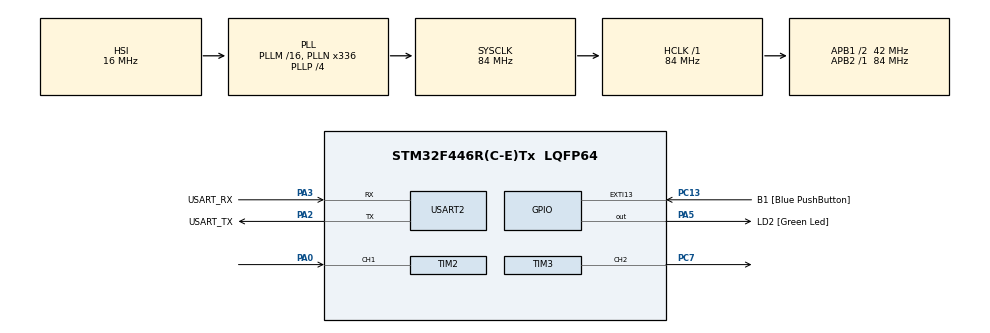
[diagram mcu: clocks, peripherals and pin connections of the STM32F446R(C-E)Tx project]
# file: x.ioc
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Mcu.Family=STM32F4
Mcu.Name=STM32F446R(C-E)Tx
Mcu.Package=LQFP64
NVIC.PriorityGroup=NVIC_PRIORITYGROUP_0
NVIC.TIM2_IRQn=true\:0\:0\:false\:false\:true\:true\:true\:true
NVIC.USART2_IRQn=true\:0\:0\:false\:false\:true\:true\:true\:true
PA0-WKUP.Signal=S_TIM2_CH1_ETR
PA13.GPIO_Label=TMS
PA13.Mode=Serial_Wire
PA13.Signal=SYS_JTMS-SWDIO
PA14.GPIO_Label=TCK
PA14.Mode=Serial_Wire
PA14.Signal=SYS_JTCK-SWCLK
PA2.GPIO_Label=USART_TX
PA2.Mode=Asynchronous
PA2.Signal=USART2_TX
PA3.GPIO_Label=USART_RX
PA3.Mode=Asynchronous
PA3.Signal=USART2_RX
PA5.GPIO_Label=LD2 [Green Led]
PA5.Signal=GPIO_Output
PB3.GPIO_Label=SWO
PB3.Signal=SYS_JTDO-SWO
PC13.GPIO_Label=B1 [Blue PushButton]
PC13.GPIO_ModeDefaultEXTI=GPIO_MODE_IT_FALLING
PC13.Signal=GPXTI13
PC14-OSC32_IN.Mode=LSE-External-Oscillator
PC14-OSC32_IN.Signal=RCC_OSC32_IN
PC15-OSC32_OUT.Mode=LSE-External-Oscillator
PC15-OSC32_OUT.Signal=RCC_OSC32_OUT
PC7.Signal=S_TIM3_CH2
PH0-OSC_IN.Mode=HSE-External-Oscillator
PH0-OSC_IN.Signal=RCC_OSC_IN
PH1-OSC_OUT.Mode=HSE-External-Oscillator
PH1-OSC_OUT.Signal=RCC_OSC_OUT
ProjectManager.HeapSize=0x200
ProjectManager.StackSize=0x400
ProjectManager.TargetToolchain=STM32CubeIDE
RCC.48MHZClocksFreq_Value=84000000
RCC.AHBFreq_Value=84000000
RCC.APB1CLKDivider=RCC_HCLK_DIV2
RCC.APB1Freq_Value=42000000
RCC.APB1TimFreq_Value=84000000
RCC.APB2Freq_Value=84000000
RCC.APB2TimFreq_Value=84000000
RCC.CortexFreq_Value=84000000
RCC.FLatency-AdvancedSettings=FLASH_LATENCY_2
RCC.HCLKFreq_Value=84000000
RCC.HSE_VALUE=8000000
RCC.HSI_VALUE=16000000
RCC.PLLN=336
RCC.PLLP=RCC_PLLP_DIV4
RCC.SYSCLKFreq_VALUE=84000000
RCC.SYSCLKSource=RCC_SYSCLKSOURCE_PLLCLK
RCC.USBFreq_Value=168000000
RCC.VCOOutputFreq_Value=336000000
SH.S_TIM2_CH1_ETR.0=TIM2_CH1,TriggerSource_TI1FP1
SH.S_TIM2_CH1_ETR.1=TIM2_CH1,Input_Capture1_from_TI1
SH.S_TIM3_CH2.0=TIM3_CH2,PWM Generation2 CH2
TIM2.AutoReloadPreload=TIM_AUTORELOAD_PRELOAD_ENABLE
TIM2.Channel-Input_Capture1_from_TI1=TIM_CHANNEL_1
TIM2.Channel-Input_Capture2_from_TI1_63=TIM_CHANNEL_2
TIM2.ICPolarity_CH2=TIM_INPUTCHANNELPOLARITY_FALLING
TIM3.AutoReloadPreload=TIM_AUTORELOAD_PRELOAD_ENABLE
TIM3.Channel-PWM\ Generation2\ CH2=TIM_CHANNEL_2
USART2.VirtualMode=VM_ASYNC
VP_TIM2_VS_ControllerModeReset.Mode=Reset Mode
VP_TIM2_VS_indirect_ch1.Mode=Input_Capture2_from_TI1_63
board=NUCLEO-F446RE

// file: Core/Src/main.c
/* USER CODE BEGIN Header */
/**
  ******************************************************************************
  * @file           : main.c
  * @brief          : Main program body
  ******************************************************************************
  * @attention
  *
  * Copyright (c) 2026 STMicroelectronics.
  * All rights reserved.
  *
  * This software is licensed under terms that can be found in the LICENSE file
  * in the root directory of this software component.
  * If no LICENSE file comes with this software, it is provided AS-IS.
  *
  ******************************************************************************
  */
/* USER CODE END Header */
#include "main.h"
#include "tim.h"
#include "usart.h"
#include "gpio.h"

/* USER CODE BEGIN Includes */
#include <string.h>
#include <stdlib.h>
#include <stdio.h>

/* USER CODE END Includes */

/* USER CODE BEGIN PV */
static volatile uint32_t ic_period = 0;
static volatile uint32_t ic_high   = 0;
static volatile uint8_t  ic_ready  = 0;

static uint8_t rx_ch;                 // 1 znak z UART
static char rx_line[128];             // linia komendy
static uint16_t rx_idx = 0;

/* USER CODE END PV */

void SystemClock_Config(void);

/* USER CODE BEGIN 0 */
static void uart_print(const char *s)
{
  HAL_UART_Transmit(&huart2, (uint8_t*)s, (uint16_t)strlen(s), 100);
}

// TIM2 i TIM3 są na APB1. Przy APB1 prescaler != 1 zegar timera = 2*PCLK1.
static uint32_t tim_apb1_clk_hz(void)
{
  uint32_t pclk = HAL_RCC_GetPCLK1Freq();
  if ((RCC->CFGR & RCC_CFGR_PPRE1) != RCC_CFGR_PPRE1_DIV1) return 2U * pclk;
  return pclk;
}

static int pwm_set_tim3_ch2(uint32_t freq_hz, uint8_t duty_percent)
{
  if (freq_hz < 1 || freq_hz > 200000) return -1;
  if (duty_percent > 100) return -2;

  uint32_t timclk = tim_apb1_clk_hz();

  uint32_t psc = 0;
  uint32_t arr;

  while (1)
  {
    uint64_t denom = (uint64_t)(psc + 1U) * (uint64_t)freq_hz;
    uint64_t tmp = (uint64_t)timclk / denom;
    if (tmp == 0) return -3;

    arr = (uint32_t)(tmp - 1ULL);

    if (arr <= 65535U) break;       // TIM3 jest 16-bit
    if (++psc > 65535U) return -4;
  }

  uint32_t ccr = (uint32_t)(((uint64_t)(arr + 1U) * duty_percent) / 100ULL);
  if (ccr > arr) ccr = arr;

  __HAL_TIM_DISABLE(&htim3);
  __HAL_TIM_SET_PRESCALER(&htim3, psc);
  __HAL_TIM_SET_AUTORELOAD(&htim3, arr);
  __HAL_TIM_SET_COMPARE(&htim3, TIM_CHANNEL_2, ccr); // PC7 = TIM3_CH2
  __HAL_TIM_SET_COUNTER(&htim3, 0);
  __HAL_TIM_ENABLE(&htim3);

  return 0;
}

static void report_ic_uart(void)
{
  if (!ic_ready) return;
  ic_ready = 0;

  uint32_t timclk = tim_apb1_clk_hz();
  uint32_t psc = htim2.Instance->PSC;
  uint32_t tick_hz = timclk / (psc + 1U);

  uint32_t freq = (ic_period > 0) ? (tick_hz / ic_period) : 0;
  uint32_t duty = (ic_period > 0) ? ((ic_high * 100U) / ic_period) : 0;

  char buf[140];
  // UWAGA: to jest JEDEN string w cudzysłowie, bez żadnych kombinacji
  snprintf(buf, sizeof(buf),
           "IC: f=%lu Hz, duty=%lu%% (period=%lu, high=%lu)\r\n",
           (unsigned long)freq,
           (unsigned long)duty,
           (unsigned long)ic_period,
           (unsigned long)ic_high);

  uart_print(buf);
}

// parser: "[Generate, 14000, 50%]"
static void handle_line(const char *line)
{
  if (strstr(line, "Generate") == NULL) return;

  const char *c1 = strchr(line, ',');
  const char *c2 = c1 ? strchr(c1 + 1, ',') : NULL;

  if (!c1 || !c2)
  {
    uart_print("ERR: format\r\n");
    return;
  }

  uint32_t freq = (uint32_t)strtoul(c1 + 1, NULL, 10);
  uint32_t duty = (uint32_t)strtoul(c2 + 1, NULL, 10); // '%' ignorujemy

  int r = pwm_set_tim3_ch2(freq, (uint8_t)duty);
  if (r == 0) uart_print("OK: PWM updated\r\n");
  else uart_print("ERR: params\r\n");
}

/* USER CODE END 0 */

int main(void)
{

  /* MCU Configuration--------------------------------------------------------*/

  /* Reset of all peripherals, Initializes the Flash interface and the Systick. */
  HAL_Init();

  /* Configure the system clock */
  SystemClock_Config();

  /* Initialize all configured peripherals */
  MX_GPIO_Init();
  MX_USART2_UART_Init();
  MX_TIM3_Init();
  MX_TIM2_Init();
  /* USER CODE BEGIN 2 */
  // Start PWM (TIM3_CH2 na PC7/D9)
  HAL_TIM_PWM_Start(&htim3, TIM_CHANNEL_2);

  // Start Input Capture (TIM2 CH1 rising, CH2 falling)
  HAL_TIM_IC_Start_IT(&htim2, TIM_CHANNEL_1);
  HAL_TIM_IC_Start_IT(&htim2, TIM_CHANNEL_2);

  // Start odbioru UART po 1 znaku
  HAL_UART_Receive_IT(&huart2, &rx_ch, 1);

  uart_print("\r\nReady. Use: [Generate, 14000, 50%]\r\n");

  /* USER CODE END 2 */

  /* Infinite loop */
  while (1)
  {

    /* USER CODE BEGIN 3 */
	  static uint32_t t0 = 0;
	  if (HAL_GetTick() - t0 >= 200)
	  {
	    t0 = HAL_GetTick();
	    report_ic_uart();
	  }

  }
  /* USER CODE END 3 */
}

void SystemClock_Config(void)
{
  RCC_OscInitTypeDef RCC_OscInitStruct = {0};
  RCC_ClkInitTypeDef RCC_ClkInitStruct = {0};

  /** Configure the main internal regulator output voltage
  */
  __HAL_RCC_PWR_CLK_ENABLE();
  __HAL_PWR_VOLTAGESCALING_CONFIG(PWR_REGULATOR_VOLTAGE_SCALE3);

  /** Initializes the RCC Oscillators according to the specified parameters
  * in the RCC_OscInitTypeDef structure.
  */
  RCC_OscInitStruct.OscillatorType = RCC_OSCILLATORTYPE_HSI;
  RCC_OscInitStruct.HSIState = RCC_HSI_ON;
  RCC_OscInitStruct.HSICalibrationValue = RCC_HSICALIBRATION_DEFAULT;
  RCC_OscInitStruct.PLL.PLLState = RCC_PLL_ON;
  RCC_OscInitStruct.PLL.PLLSource = RCC_PLLSOURCE_HSI;
  RCC_OscInitStruct.PLL.PLLM = 16;
  RCC_OscInitStruct.PLL.PLLN = 336;
  RCC_OscInitStruct.PLL.PLLP = RCC_PLLP_DIV4;
  RCC_OscInitStruct.PLL.PLLQ = 2;
  RCC_OscInitStruct.PLL.PLLR = 2;
  if (HAL_RCC_OscConfig(&RCC_OscInitStruct) != HAL_OK)
  {
    Error_Handler();
  }

  /** Initializes the CPU, AHB and APB buses clocks
  */
  RCC_ClkInitStruct.ClockType = RCC_CLOCKTYPE_HCLK|RCC_CLOCKTYPE_SYSCLK
                              |RCC_CLOCKTYPE_PCLK1|RCC_CLOCKTYPE_PCLK2;
  RCC_ClkInitStruct.SYSCLKSource = RCC_SYSCLKSOURCE_PLLCLK;
  RCC_ClkInitStruct.AHBCLKDivider = RCC_SYSCLK_DIV1;
  RCC_ClkInitStruct.APB1CLKDivider = RCC_HCLK_DIV2;
  RCC_ClkInitStruct.APB2CLKDivider = RCC_HCLK_DIV1;

  if (HAL_RCC_ClockConfig(&RCC_ClkInitStruct, FLASH_LATENCY_2) != HAL_OK)
  {
    Error_Handler();
  }
}

/* USER CODE BEGIN 4 */
void HAL_UART_RxCpltCallback(UART_HandleTypeDef *huart)
{
  if (huart->Instance != USART2) return;

  char c = (char)rx_ch;

  if (c == '\r' || c == '\n')
  {
    if (rx_idx > 0)
    {
      rx_line[rx_idx] = 0;
      handle_line(rx_line);
      rx_idx = 0;
    }
  }
  else
  {
    if (rx_idx < (sizeof(rx_line) - 1))
    {
      rx_line[rx_idx++] = c;
    }
    else
    {
      // przepełnienie = kasujemy linię
      rx_idx = 0;
      uart_print("ERR: line too long\r\n");
    }
  }

  HAL_UART_Receive_IT(&huart2, &rx_ch, 1); // odbieraj dalej
}

void HAL_TIM_IC_CaptureCallback(TIM_HandleTypeDef *htim)
{
  if (htim->Instance != TIM2) return;

  if (htim->Channel == HAL_TIM_ACTIVE_CHANNEL_1)
  {
    ic_period = HAL_TIM_ReadCapturedValue(htim, TIM_CHANNEL_1);
  }
  else if (htim->Channel == HAL_TIM_ACTIVE_CHANNEL_2)
  {
    ic_high = HAL_TIM_ReadCapturedValue(htim, TIM_CHANNEL_2);
  }

  if (ic_period != 0 && ic_high <= ic_period) ic_ready = 1;
}

/* USER CODE END 4 */

void Error_Handler(void)
{
  __disable_irq();
  while (1)
  {
  }
}
